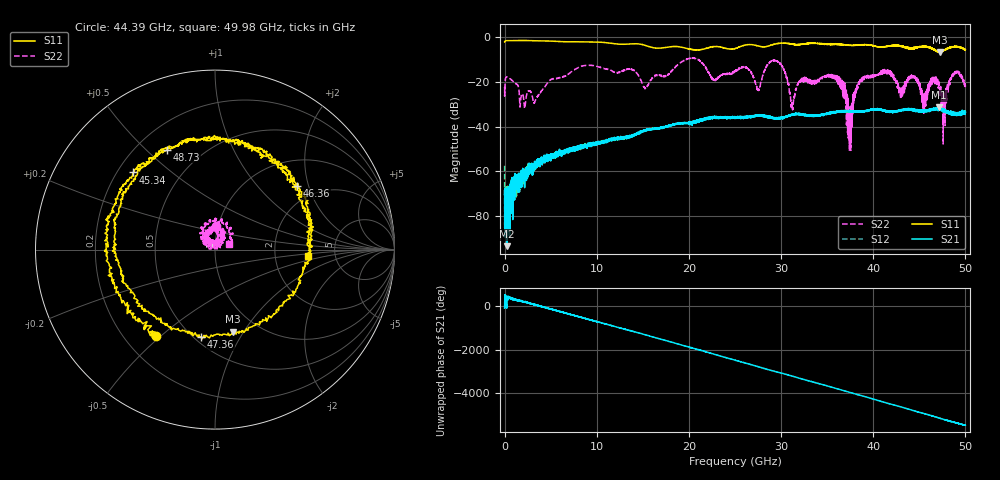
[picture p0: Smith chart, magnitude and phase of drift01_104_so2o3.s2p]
!Created with skrf (http://scikit-rf.org).
# Hz S RI R 50.0
!freq ReS11 ImS11 ReS21 ImS21 ReS12 ImS12 ReS22 ImS22
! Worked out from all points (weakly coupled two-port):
!   10001 points, 300 kHz to 50 GHz, reference 50 ohm
!   highest |S21| = -31.38 dB at 47.14 GHz (marker M1); lowest = -93.6 dB at 270.3 MHz (marker M2)
!   lowest |S11| = -6.6 dB at 47.21 GHz (marker M3), VSWR 2.76, Z = 38.3 - j44.9 ohm
!   |S11| at or under -10 dB: nowhere
!   |S22| runs from -50.9 to -9.2 dB; largest |S21 - S12| = 0.004
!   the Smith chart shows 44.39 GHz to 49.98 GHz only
!   S11 on the Smith chart (normalised r, x): 44.39 GHz: 0.33, -0.48; 45.34 GHz: 0.26, +0.37; 46.36 GHz: 1.58, +1.69; 47.36 GHz: 0.54, -0.69; 48.73 GHz: 0.32, +0.58; 49.98 GHz: 3.15, -0.29
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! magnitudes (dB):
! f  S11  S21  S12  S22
! 300 kHz  -2.0  -70.5  -57.6  -22.2
! 270.3 MHz  -1.4  -93.6  -80.7  -17.7
! 3.29 GHz  -1.5  -57.5  -57.2  -28.8
! 8.335 GHz  -1.9  -49.2  -48.8  -12.9
! 16.67 GHz  -4.8  -40.7  -40.7  -16.7
! 25 GHz  -5.0  -35.6  -35.9  -15.5
! 29.58 GHz  -2.8  -36.1  -36.3  -10.6
! 31.24 GHz  -3.0  -34.7  -34.5  -32.2
! 33.34 GHz  -2.6  -34.9  -35.0  -19.9
! 36.08 GHz  -3.1  -33.5  -33.4  -18.0
! 37.47 GHz  -3.6  -33.3  -32.9  -37.0
! 38.66 GHz  -3.3  -33.3  -33.2  -20.0
! 41.67 GHz  -3.8  -33.4  -33.3  -15.5
! 44.39 GHz  -4.7  -32.7  -32.7  -17.5
! 45.34 GHz  -4.1  -32.9  -32.9  -27.7
! 46.36 GHz  -4.7  -32.6  -32.2  -19.3
! 47.14 GHz  -6.3  -31.4  -32.1  -20.1
! 47.21 GHz  -6.6  -32.0  -32.2  -24.6
! 47.36 GHz  -6.2  -32.1  -32.8  -24.4
! 48.73 GHz  -4.2  -33.8  -34.4  -16.3
! 49.98 GHz  -5.6  -33.3  -32.9  -21.2
! 50 GHz  -5.4  -33.5  -33.3  -21.3
